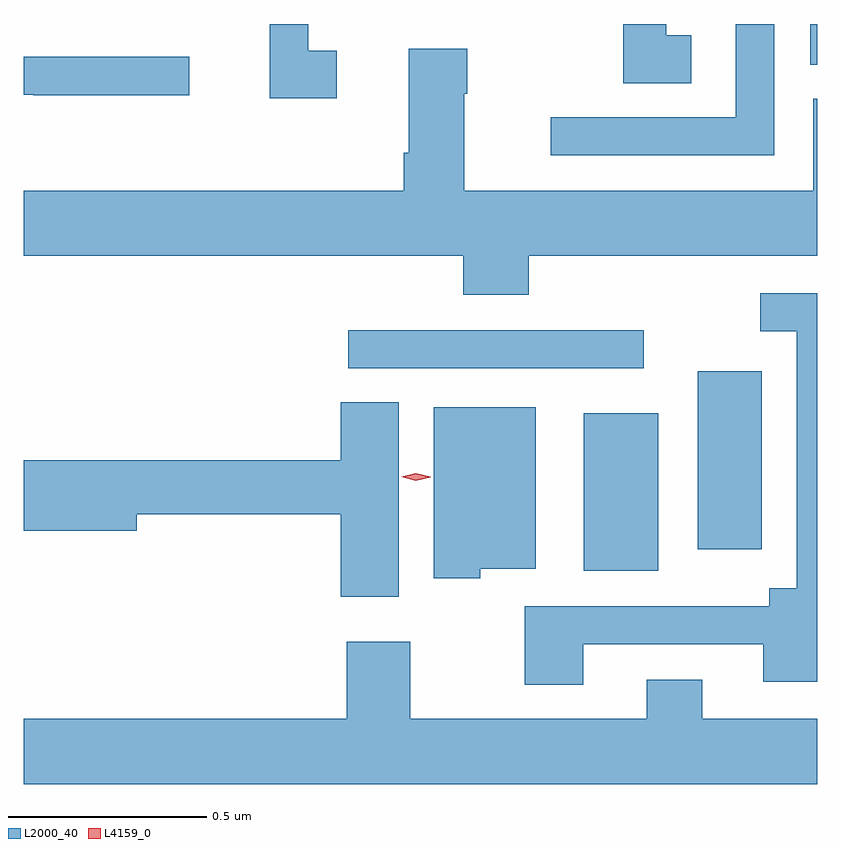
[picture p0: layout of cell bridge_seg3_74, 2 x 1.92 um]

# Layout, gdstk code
import gdstk
lib = gdstk.Library(unit=1e-6, precision=1e-09)
def R(c, l, rs):  # rectangles x0, y0, x1, y1
    for r in rs: c.add(gdstk.rectangle(r[:2], r[2:], *l))
def P(c, l, *ps):  # polygons
    for p in ps: c.add(gdstk.Polygon(p, *l))
L2000_40 = (2000, 40)
L4159_0 = (4159, 0)

bridge_seg3_74 = lib.new_cell('bridge_seg3_74')
R(bridge_seg3_74, L2000_40, [(478.982,709.445,479.17,709.843), (479.27,709.5,479.431,709.948), (478.389,709.956,479.134,710.052), (479.553,710.721,479.571,710.824)])
P(bridge_seg3_74, L2000_40, [(478.36,710.757),(478.288,710.757),(478.288,710.824),(478.191,710.824),(478.191,710.637),(478.36,710.637)],
  [(479.254,710.796),(479.19,710.796),(479.19,710.824),(479.082,710.824),(479.082,710.674),(479.254,710.674)],
  [(479.463,710.824),(479.366,710.824),(479.366,710.589),(478.899,710.589),(478.899,710.493),(479.463,710.493)],
  [(478.844,710.24),(479.571,710.24),(479.571,710.636),(479.561,710.636),(479.561,710.404),(478.681,710.404),(478.681,710.648),(478.689,710.648),(478.689,710.761),(478.541,710.761),(478.541,710.5),(478.529,710.5),(478.529,710.404),(477.571,710.404),(477.571,710.24),(478.679,710.24),(478.679,710.141),(478.844,710.141)],
  [(477.988,710.742),(477.571,710.742),(477.571,710.646),(477.595,710.646),(477.595,710.644),(477.988,710.644)],
  [(478.981,709.26),(479.435,709.26),(479.435,709.166),(479.571,709.166),(479.571,710.145),(479.427,710.145),(479.427,710.049),(479.519,710.049),(479.519,709.699),(479.52,709.699),(479.52,709.402),(479.45,709.402),(479.45,709.356),(478.834,709.356),(478.834,709.158),(478.981,709.158)],
  [(478.516,709.871),(478.37,709.871),(478.37,709.724),(477.571,709.724),(477.571,709.546),(477.856,709.546),(477.856,709.588),(478.37,709.588),(478.37,709.38),(478.516,709.38)],
  [(478.722,709.451),(478.861,709.451),(478.861,709.858),(478.604,709.858),(478.604,709.427),(478.722,709.427)],
  [(479.571,709.072),(479.281,709.072),(479.281,709.171),(479.141,709.171),(479.141,709.072),(478.545,709.072),(478.545,709.267),(478.385,709.267),(478.385,709.072),(477.571,709.072),(477.571,708.908),(479.571,708.908)])
P(bridge_seg3_74, L4159_0, [(478.559,709.672),(478.522,709.682),(478.522,709.682),(478.522,709.683),(478.559,709.692),(478.597,709.682),(478.597,709.681),(478.597,709.681)])

lib.write_gds('bridge_seg3_74.gds')
